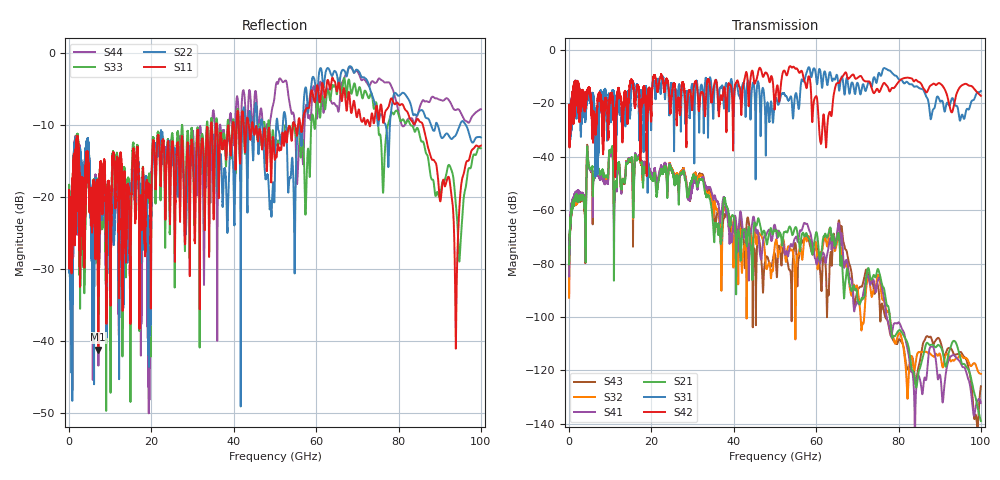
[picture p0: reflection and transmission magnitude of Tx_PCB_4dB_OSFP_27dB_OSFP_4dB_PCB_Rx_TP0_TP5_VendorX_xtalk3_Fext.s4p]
! Info: Touchstone file created by Circ.  Input file=Tx_PCB_4dB_OSFP_27dB_OSFP_4dB_PCB_Rx_TP0_TP5_VendorX.circ
# Hz S RI R 50
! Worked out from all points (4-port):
!   10000 points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, 10 MHz to 100 GHz, reference 50 ohm
!   strongest paths, dB at 10 MHz, 25.01 GHz, 50.01 GHz, 75.01 GHz, 100 GHz:
!     S42: -22.6, -15.9, -20.6, -14.9, -17.2
!     S31: -22.6, -13.0, -18.7, -9.5, -15.4
!     S21: -80.3, -45.0, -67.6, -82.0, -138.9
!     S41: -84.2, -44.9, -65.7, -86.2, -132.1
!     S32: -92.8, -44.5, -72.5, -84.2, -121.3
!     S43: -91.8, -45.4, -76.6, -88.3, -125.9
!   lowest |S11| = -41.2 dB at 7.09 GHz (marker M1), VSWR 1.02, Z = 50.2 - j0.842 ohm
!   |S11| at or under -10 dB: start of sweep to 34.47 GHz; 44.65 GHz to 54.34 GHz (9.694 GHz wide, 19.6 % of centre); 85.91 GHz to end of sweep (the widest 3 of 12)
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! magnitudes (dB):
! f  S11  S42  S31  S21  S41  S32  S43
! 10 MHz  -19.8  -22.6  -22.6  -80.3  -84.2  -92.8  -91.8
! 7.09 GHz  -41.2  -18.0  -28.1  -44.2  -46.1  -45.6  -46.2
! 48.23 GHz  -13.0  -9.4  -19.8  -71.6  -68.0  -81.0  -77.7
! 61.11 GHz  -6.1  -34.9  -9.0  -77.1  -79.3  -75.6  -85.8
! 66.95 GHz  -5.5  -8.6  -16.5  -89.5  -80.3  -80.4  -74.0
! 93.98 GHz  -38.5  -17.0  -20.9  -109.8  -115.2  -115.4  -114.0
! 100 GHz  -12.9  -17.2  -15.4  -138.9  -132.1  -121.3  -125.9
